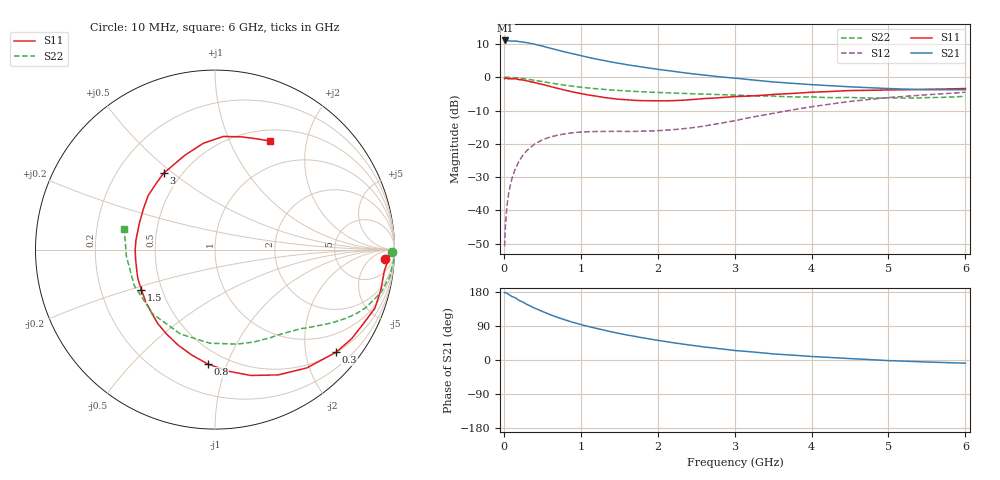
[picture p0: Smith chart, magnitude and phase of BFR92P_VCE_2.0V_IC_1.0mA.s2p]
! Infineon Technologies  Discrete & RF Semiconductors
! BFR92P
! VCE =  2.0 V,  IC =  1.0 mA
! Common Emitter S-Parameters:  Apr 2014
# GHz  S  MA  R  50
!  f  S11  S21  S12  S22
! GHz  MAG  ANG  MAG  ANG  MAG  ANG  MAG  ANG
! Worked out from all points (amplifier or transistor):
!   77 points, 10 MHz to 6 GHz, reference 50 ohm
!   highest |S21| = 11.1 dB at 20 MHz (marker M1)
!   |S21| within 3 dB of that: start of sweep to 717 MHz
!   unconditionally stable (mu >= 1): 1.646 GHz to 3.416 GHz
!   at 130 MHz: K = 0.08, MSG = 19.8 dB, |S12| = -28.7 dB
!   at 2.2 GHz: K = 1.18, MAG = 6.2 dB, |S12| = -15.8 dB
!   at 6 GHz: K = 0.96, MSG = 0.4 dB, |S12| = -4.5 dB
!   S11 on the Smith chart (normalised r, x): 10 MHz: 19, -19; 300 MHz: 0.50, -2.65; 800 MHz: 0.40, -0.86; 1.5 GHz: 0.38, -0.22; 3 GHz: 0.40, +0.46; 6 GHz: 0.64, +1.43
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0.01  0.9477 -3.0  3.484 177.6  0.0029 91.3  0.9863 -0.8
0.02  0.9821 -0.9  3.574 178.0  0.0055 90.3  1 -1.1
0.03  0.9706 -2.9  3.568 176.9  0.0084 87.4  1 -1.7
0.05  0.9511 -6.9  3.56 174.8  0.0143 85.2  1 -2.8
0.1  0.9509 -13.8  3.495 168.2  0.0283 80.5  0.9902 -5.7
0.15  0.9487 -20.2  3.508 163.9  0.0423 77.9  0.986 -8.7
0.2  0.9223 -27.1  3.434 157.1  0.0556 73.5  0.9699 -11.4
0.3  0.8849 -40.2  3.311 146.6  0.0793 65.6  0.937 -16.5
0.4  0.8344 -52.2  3.144 136.9  0.0992 59.2  0.9006 -21.0
0.5  0.7821 -63.2  2.943 128.2  0.1147 53.7  0.8618 -24.6
0.6  0.7293 -74.1  2.743 119.8  0.1265 48.7  0.8236 -27.7
0.8  0.6387 -93.6  2.394 105.6  0.1417 40.8  0.7576 -32.9
0.9  0.601 -102.6  2.254 99.2  0.1471 38.1  0.732 -34.9
1.1  0.5422 -119.9  1.989 88.4  0.1519 34.2  0.6902 -38.6
1.5  0.4672 -151.4  1.619 70.1  0.1544 31.7  0.6331 -45.2
1.8  0.4455 -173.3  1.426 58.7  0.1552 34.1  0.6059 -50.3
2.1  0.4423 167.4  1.273 48.9  0.1602 38.5  0.5852 -55.6
3  0.5126 124.0  0.971 25.1  0.2223 50.6  0.5407 -76.9
3.1  0.517 120.5  0.945 23.5  0.2352 50.5  0.5336 -80.0
4.1  0.6021 93.9  0.763 8.2  0.3746 45.0  0.5005 -116.5
5.1  0.6468 75.5  0.671 -2.3  0.5056 29.3  0.4883 -160.0
6  0.6778 63.2  0.649 -8.4  0.5946 14.7  0.5182 167.3
